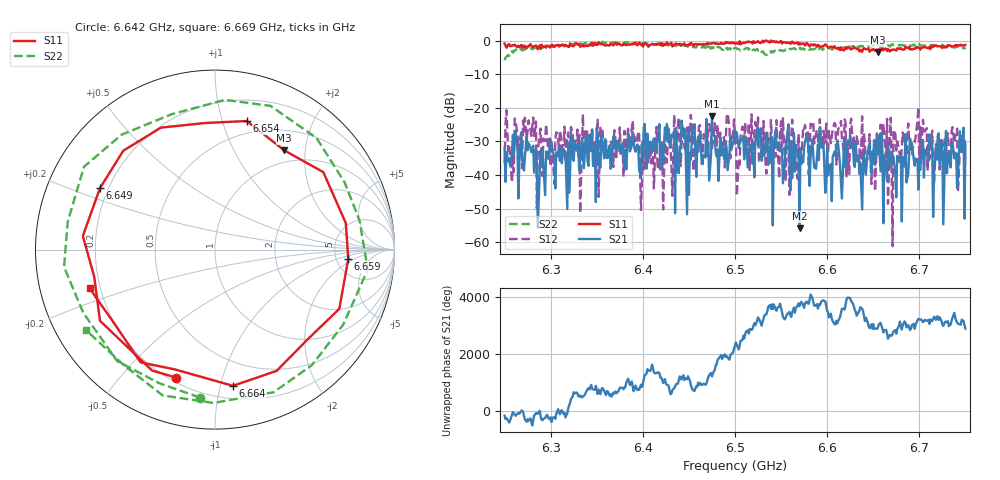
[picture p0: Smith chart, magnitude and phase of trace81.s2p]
# Hz S RI R 50
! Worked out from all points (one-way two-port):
!   401 points, 6.25 GHz to 6.75 GHz, reference 50 ohm
!   highest |S21| = -22.49 dB at 6.475 GHz (marker M1); lowest = -55.9 dB at 6.57 GHz (marker M2)
!   lowest |S11| = -3.4 dB at 6.655 GHz (marker M3), VSWR 5.14, Z = 39.9 + j80.9 ohm
!   |S11| at or under -10 dB: nowhere
!   |S22| runs from -5.8 to -0.3 dB; largest |S21 - S12| = 0.11
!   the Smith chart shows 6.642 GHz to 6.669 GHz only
!   S11 on the Smith chart (normalised r, x): 6.642 GHz: 0.22, -0.72; 6.649 GHz: 0.17, +0.24; 6.654 GHz: 0.38, +1.20; 6.659 GHz: 6.46, -1.51; 6.664 GHz: 0.30, -1.10; 6.669 GHz: 0.16, -0.15
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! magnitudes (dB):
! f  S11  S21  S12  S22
! 6.25 GHz  -0.8  -32.0  -36.4  -5.8
! 6.334 GHz  -1.6  -28.9  -30.7  -0.8
! 6.418 GHz  -1.1  -24.8  -34.6  -1.2
! 6.438 GHz  -1.0  -39.2  -25.3  -1.0
! 6.444 GHz  -1.0  -27.9  -25.8  -1.2
! 6.45 GHz  -1.0  -45.9  -25.1  -1.8
! 6.454 GHz  -1.1  -25.5  -27.3  -1.9
! 6.475 GHz  -0.7  -22.5  -32.0  -1.8
! 6.5 GHz  -0.9  -26.6  -30.7  -2.1
! 6.57 GHz  -0.7  -55.9  -35.7  -2.3
! 6.584 GHz  -1.2  -29.3  -25.2  -2.5
! 6.642 GHz  -2.6  -39.8  -36.2  -1.6
! 6.649 GHz  -2.8  -33.0  -33.5  -1.6
! 6.654 GHz  -2.6  -27.6  -29.2  -1.6
! 6.655 GHz  -3.4  -33.8  -28.3  -1.3
! 6.659 GHz  -2.6  -27.5  -32.9  -1.7
! 6.664 GHz  -2.3  -37.7  -34.8  -1.3
! 6.668 GHz  -3.1  -36.3  -28.3  -1.7
! 6.669 GHz  -2.7  -37.3  -22.9  -1.4
! 6.675 GHz  -2.9  -46.6  -32.7  -1.3
! 6.696 GHz  -2.2  -35.1  -28.6  -1.6
! 6.75 GHz  -1.2  -30.6  -36.8  -2.4
